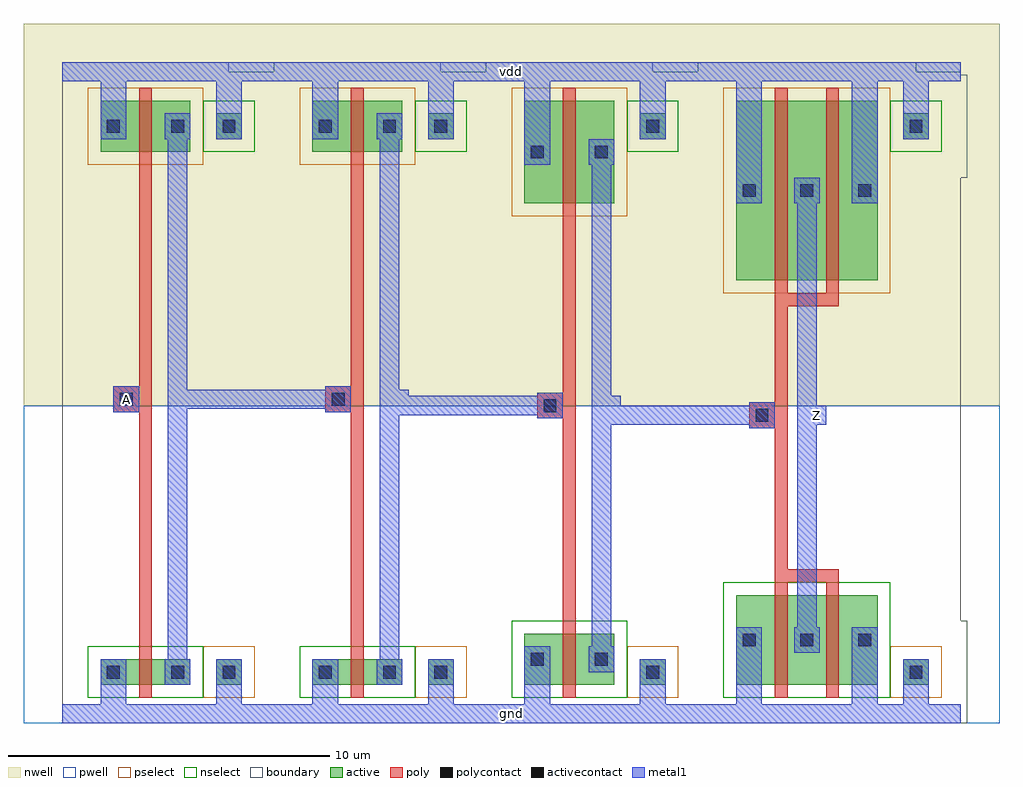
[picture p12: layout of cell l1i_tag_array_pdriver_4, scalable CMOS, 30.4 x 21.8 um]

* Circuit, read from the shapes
.subckt l1i_tag_array_pdriver_4 A Z gnd vdd
M1 l1i_tag_array_pinv_7_1/A A gnd gnd nfet w=0.8u l=0.4u
M2 l1i_tag_array_pinv_13_2/A l1i_tag_array_pinv_7_1/A gnd gnd nfet w=0.8u l=0.4u
M3 l1i_tag_array_pinv_14_3/A l1i_tag_array_pinv_13_2/A gnd gnd nfet w=1.6u l=0.4u
M4 Z l1i_tag_array_pinv_14_3/A gnd gnd nfet w=2.8u l=0.4u m=2
M5 l1i_tag_array_pinv_7_1/A A vdd vdd pfet w=1.6u l=0.4u
M6 l1i_tag_array_pinv_13_2/A l1i_tag_array_pinv_7_1/A vdd vdd pfet w=1.6u l=0.4u
M7 l1i_tag_array_pinv_14_3/A l1i_tag_array_pinv_13_2/A vdd vdd pfet w=3.2u l=0.4u
M8 Z l1i_tag_array_pinv_14_3/A vdd vdd pfet w=5.6u l=0.4u m=2
.ends

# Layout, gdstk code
import gdstk
lib = gdstk.Library(unit=1e-6, precision=1e-09)
def R(c, l, rs):  # rectangles x0, y0, x1, y1
    for r in rs: c.add(gdstk.rectangle(r[:2], r[2:], *l))
def A(c, l, x, y, w, h, nx, ny, dx, dy):  # array of equal rectangles
    R(c, l, [(x+i*dx, y+j*dy, x+i*dx+w, y+j*dy+h) for i in range(nx) for j in range(ny)])
pwell = (41, 0)
nwell = (42, 0)
active = (43, 0)
pselect = (44, 0)
nselect = (45, 0)
poly = (46, 0)
polycontact = (47, 0)
activecontact = (48, 0)
metal1 = (49, 0)
boundary = (63, 0)

l1i_tag_array_contact_11 = lib.new_cell('l1i_tag_array_contact_11')
R(l1i_tag_array_contact_11, nwell, [(-1.2,-1.2,2,2)])
R(l1i_tag_array_contact_11, active, [(0,0,0.8,0.8)])
R(l1i_tag_array_contact_11, pselect, [(-0.4,-0.4,1.2,1.2)])
R(l1i_tag_array_contact_11, activecontact, [(0.2,0.2,0.6,0.6)])
R(l1i_tag_array_contact_11, metal1, [(0,0,0.8,0.8)])
R(l1i_tag_array_contact_11, boundary, [(-1.2,-1.2,2,2)])

l1i_tag_array_pmos_m1_w1 = lib.new_cell('l1i_tag_array_pmos_m1_w1_600_sm1_dm1_da_p')
R(l1i_tag_array_pmos_m1_w1, nwell, [(-1.2,-1.2,4,2.8)])
R(l1i_tag_array_pmos_m1_w1, active, [(0,0,2.8,1.6)])
R(l1i_tag_array_pmos_m1_w1, pselect, [(-0.4,-0.4,3.2,2)])
R(l1i_tag_array_pmos_m1_w1, poly, [(1.2,-0.4,1.6,2), (1.2,-0.4,1.6,2)])
R(l1i_tag_array_pmos_m1_w1, metal1, [(0,0.4,0.8,1.2), (2,0.4,2.8,1.2)])
R(l1i_tag_array_pmos_m1_w1, boundary, [(-1.2,-1.2,4,2.8)])
l1i_tag_array_pmos_m1_w1.add(gdstk.Reference(l1i_tag_array_contact_11, (0,0.4)))
l1i_tag_array_pmos_m1_w1.add(gdstk.Reference(l1i_tag_array_contact_11, (2,0.4)))
l1i_tag_array_pmos_m1_w1.add(gdstk.Label('G', (1.4,0.8), layer=46, texttype=0))
l1i_tag_array_pmos_m1_w1.add(gdstk.Label('S', (0.4,0.8), layer=49, texttype=0))
l1i_tag_array_pmos_m1_w1.add(gdstk.Label('D', (2.4,0.8), layer=49, texttype=0))

l1i_tag_array_contact_10 = lib.new_cell('l1i_tag_array_contact_10')
R(l1i_tag_array_contact_10, pwell, [(-1.2,-1.2,2,2)])
R(l1i_tag_array_contact_10, active, [(0,0,0.8,0.8)])
R(l1i_tag_array_contact_10, nselect, [(-0.4,-0.4,1.2,1.2)])
R(l1i_tag_array_contact_10, activecontact, [(0.2,0.2,0.6,0.6)])
R(l1i_tag_array_contact_10, metal1, [(0,0,0.8,0.8)])
R(l1i_tag_array_contact_10, boundary, [(-1.2,-1.2,2,2)])

l1i_tag_array_nmos_m1_w0 = lib.new_cell('l1i_tag_array_nmos_m1_w0_800_sm1_dm1_da_p')
R(l1i_tag_array_nmos_m1_w0, pwell, [(-1.2,-1.2,4,2)])
R(l1i_tag_array_nmos_m1_w0, active, [(0,0,2.8,0.8)])
R(l1i_tag_array_nmos_m1_w0, nselect, [(-0.4,-0.4,3.2,1.2)])
R(l1i_tag_array_nmos_m1_w0, poly, [(1.2,-0.4,1.6,1.2), (1.2,-0.4,1.6,1.2)])
R(l1i_tag_array_nmos_m1_w0, metal1, [(0,0,0.8,0.8), (2,0,2.8,0.8)])
R(l1i_tag_array_nmos_m1_w0, boundary, [(-1.2,-1.2,4,2)])
l1i_tag_array_nmos_m1_w0.add(gdstk.Reference(l1i_tag_array_contact_10, (0,0)))
l1i_tag_array_nmos_m1_w0.add(gdstk.Reference(l1i_tag_array_contact_10, (2,0)))
l1i_tag_array_nmos_m1_w0.add(gdstk.Label('G', (1.4,0.4), layer=46, texttype=0))
l1i_tag_array_nmos_m1_w0.add(gdstk.Label('S', (0.4,0.4), layer=49, texttype=0))
l1i_tag_array_nmos_m1_w0.add(gdstk.Label('D', (2.4,0.4), layer=49, texttype=0))

l1i_tag_array_contact_12 = lib.new_cell('l1i_tag_array_contact_12')
R(l1i_tag_array_contact_12, nwell, [(-1.2,-1.2,2,2)])
R(l1i_tag_array_contact_12, active, [(0,0,0.8,0.8)])
R(l1i_tag_array_contact_12, nselect, [(-0.4,-0.4,1.2,1.2)])
R(l1i_tag_array_contact_12, activecontact, [(0.2,0.2,0.6,0.6)])
R(l1i_tag_array_contact_12, metal1, [(0,0,0.8,0.8)])
R(l1i_tag_array_contact_12, boundary, [(-1.2,-1.2,2,2)])

l1i_tag_array_contact_13 = lib.new_cell('l1i_tag_array_contact_13')
R(l1i_tag_array_contact_13, pwell, [(-1.2,-1.2,2,2)])
R(l1i_tag_array_contact_13, active, [(0,0,0.8,0.8)])
R(l1i_tag_array_contact_13, pselect, [(-0.4,-0.4,1.2,1.2)])
R(l1i_tag_array_contact_13, activecontact, [(0.2,0.2,0.6,0.6)])
R(l1i_tag_array_contact_13, metal1, [(0,0,0.8,0.8)])
R(l1i_tag_array_contact_13, boundary, [(-1.2,-1.2,2,2)])

l1i_tag_array_contact_14 = lib.new_cell('l1i_tag_array_contact_14')
R(l1i_tag_array_contact_14, poly, [(0,0,0.8,0.8)])
R(l1i_tag_array_contact_14, polycontact, [(0.2,0.2,0.6,0.6)])
R(l1i_tag_array_contact_14, metal1, [(0,0,0.8,0.8)])
R(l1i_tag_array_contact_14, boundary, [(0,0,0.8,0.8)])

l1i_tag_array_pinv_7 = lib.new_cell('l1i_tag_array_pinv_7')
R(l1i_tag_array_pinv_7, pwell, [(-1.2,-0.3,7.8,9.6)])
R(l1i_tag_array_pinv_7, nwell, [(-1.2,9.6,7.8,21.5)])
R(l1i_tag_array_pinv_7, poly, [(2.4,2.1,2.8,17.1), (2,9.4,2.4,10.2)])
R(l1i_tag_array_pinv_7, metal1, [(0,-0.3,6.6,0.3), (1.2,-0.3,2,0.9), (4.8,0,5.6,1.3), (3.3,0.9,3.9,18.7), (1.6,9.4,2.4,10.2), (3.6,9.5,4.2,10.1), (1.2,17.9,2,20.3), (4.8,18.3,5.6,20), (0,19.7,6.6,20.3)])
R(l1i_tag_array_pinv_7, boundary, [(0,0,6.6,20), (0,0,6.6,20)])
l1i_tag_array_pinv_7.add(gdstk.Reference(l1i_tag_array_pmos_m1_w1, (1.2,17.5)))
l1i_tag_array_pinv_7.add(gdstk.Reference(l1i_tag_array_nmos_m1_w0, (1.2,0.9)))
l1i_tag_array_pinv_7.add(gdstk.Reference(l1i_tag_array_contact_12, (4.8,17.9)))
l1i_tag_array_pinv_7.add(gdstk.Reference(l1i_tag_array_contact_13, (4.8,0.9)))
l1i_tag_array_pinv_7.add(gdstk.Reference(l1i_tag_array_contact_14, (1.6,9.4)))
l1i_tag_array_pinv_7.add(gdstk.Label('A', (2,9.8), layer=49, texttype=0))
l1i_tag_array_pinv_7.add(gdstk.Label('Z', (3.9,9.8), layer=49, texttype=0))
l1i_tag_array_pinv_7.add(gdstk.Label('gnd', (3.3,0), layer=49, texttype=0))
l1i_tag_array_pinv_7.add(gdstk.Label('vdd', (3.3,20), layer=49, texttype=0))

l1i_tag_array_pmos_m1_w3 = lib.new_cell('l1i_tag_array_pmos_m1_w3_200_sm1_dm1_da_p')
R(l1i_tag_array_pmos_m1_w3, nwell, [(-1.2,-1.2,4,4.4)])
R(l1i_tag_array_pmos_m1_w3, active, [(0,0,2.8,3.2)])
R(l1i_tag_array_pmos_m1_w3, pselect, [(-0.4,-0.4,3.2,3.6)])
R(l1i_tag_array_pmos_m1_w3, poly, [(1.2,-0.4,1.6,3.6), (1.2,-0.4,1.6,3.6)])
R(l1i_tag_array_pmos_m1_w3, metal1, [(0,1.2,0.8,2), (2,1.2,2.8,2)])
R(l1i_tag_array_pmos_m1_w3, boundary, [(-1.2,-1.2,4,4.4)])
l1i_tag_array_pmos_m1_w3.add(gdstk.Reference(l1i_tag_array_contact_11, (0,1.2)))
l1i_tag_array_pmos_m1_w3.add(gdstk.Reference(l1i_tag_array_contact_11, (2,1.2)))
l1i_tag_array_pmos_m1_w3.add(gdstk.Label('G', (1.4,1.6), layer=46, texttype=0))
l1i_tag_array_pmos_m1_w3.add(gdstk.Label('S', (0.4,1.6), layer=49, texttype=0))
l1i_tag_array_pmos_m1_w3.add(gdstk.Label('D', (2.4,1.6), layer=49, texttype=0))

l1i_tag_array_nmos_m1_w1 = lib.new_cell('l1i_tag_array_nmos_m1_w1_600_sm1_dm1_da_p')
R(l1i_tag_array_nmos_m1_w1, pwell, [(-1.2,-1.2,4,2.8)])
R(l1i_tag_array_nmos_m1_w1, active, [(0,0,2.8,1.6)])
R(l1i_tag_array_nmos_m1_w1, nselect, [(-0.4,-0.4,3.2,2)])
R(l1i_tag_array_nmos_m1_w1, poly, [(1.2,-0.4,1.6,2), (1.2,-0.4,1.6,2)])
R(l1i_tag_array_nmos_m1_w1, metal1, [(0,0.4,0.8,1.2), (2,0.4,2.8,1.2)])
R(l1i_tag_array_nmos_m1_w1, boundary, [(-1.2,-1.2,4,2.8)])
l1i_tag_array_nmos_m1_w1.add(gdstk.Reference(l1i_tag_array_contact_10, (0,0.4)))
l1i_tag_array_nmos_m1_w1.add(gdstk.Reference(l1i_tag_array_contact_10, (2,0.4)))
l1i_tag_array_nmos_m1_w1.add(gdstk.Label('G', (1.4,0.8), layer=46, texttype=0))
l1i_tag_array_nmos_m1_w1.add(gdstk.Label('S', (0.4,0.8), layer=49, texttype=0))
l1i_tag_array_nmos_m1_w1.add(gdstk.Label('D', (2.4,0.8), layer=49, texttype=0))

l1i_tag_array_pinv_13 = lib.new_cell('l1i_tag_array_pinv_13')
R(l1i_tag_array_pinv_13, pwell, [(-1.2,-0.3,7.8,9.6)])
R(l1i_tag_array_pinv_13, nwell, [(-1.2,9.6,7.8,21.5)])
R(l1i_tag_array_pinv_13, poly, [(2.4,2.9,2.8,15.5), (2,9.2,2.4,10)])
R(l1i_tag_array_pinv_13, metal1, [(0,-0.3,6.6,0.3), (1.2,-0.3,2,1.3), (4.8,0,5.6,1.3), (3.3,1.3,3.9,17.9), (1.6,9.2,2.4,10), (3.6,9.3,4.2,9.9), (1.2,17.1,2,20.3), (4.8,18.3,5.6,20), (0,19.7,6.6,20.3)])
R(l1i_tag_array_pinv_13, boundary, [(0,0,6.6,20), (0,0,6.6,20)])
l1i_tag_array_pinv_13.add(gdstk.Reference(l1i_tag_array_pmos_m1_w3, (1.2,15.9)))
l1i_tag_array_pinv_13.add(gdstk.Reference(l1i_tag_array_nmos_m1_w1, (1.2,0.9)))
l1i_tag_array_pinv_13.add(gdstk.Reference(l1i_tag_array_contact_12, (4.8,17.9)))
l1i_tag_array_pinv_13.add(gdstk.Reference(l1i_tag_array_contact_13, (4.8,0.9)))
l1i_tag_array_pinv_13.add(gdstk.Reference(l1i_tag_array_contact_14, (1.6,9.2)))
l1i_tag_array_pinv_13.add(gdstk.Label('A', (2,9.6), layer=49, texttype=0))
l1i_tag_array_pinv_13.add(gdstk.Label('Z', (3.9,9.6), layer=49, texttype=0))
l1i_tag_array_pinv_13.add(gdstk.Label('gnd', (3.3,0), layer=49, texttype=0))
l1i_tag_array_pinv_13.add(gdstk.Label('vdd', (3.3,20), layer=49, texttype=0))

l1i_tag_array_pmos_m2_w5 = lib.new_cell('l1i_tag_array_pmos_m2_w5_600_sm1_dm1_da_p')
R(l1i_tag_array_pmos_m2_w5, nwell, [(-1.2,-1.2,5.6,6.8)])
R(l1i_tag_array_pmos_m2_w5, active, [(0,0,4.4,5.6)])
R(l1i_tag_array_pmos_m2_w5, pselect, [(-0.4,-0.4,4.8,6)])
R(l1i_tag_array_pmos_m2_w5, poly, [(1.2,-0.8,3.2,-0.4), (1.2,-0.4,1.6,6), (2.8,-0.4,3.2,6)])
A(l1i_tag_array_pmos_m2_w5, metal1, 0, 2.4, 0.8, 0.8, 3, 1, 1.8, 0)
R(l1i_tag_array_pmos_m2_w5, boundary, [(-1.2,-1.2,5.6,6.8)])
l1i_tag_array_pmos_m2_w5.add(gdstk.Reference(l1i_tag_array_contact_11, (0,2.4)))
l1i_tag_array_pmos_m2_w5.add(gdstk.Reference(l1i_tag_array_contact_11, (1.8,2.4)))
l1i_tag_array_pmos_m2_w5.add(gdstk.Reference(l1i_tag_array_contact_11, (3.6,2.4)))
l1i_tag_array_pmos_m2_w5.add(gdstk.Label('G', (2.2,-0.6), layer=46, texttype=0))
l1i_tag_array_pmos_m2_w5.add(gdstk.Label('S', (4,2.8), layer=49, texttype=0))
l1i_tag_array_pmos_m2_w5.add(gdstk.Label('S', (0.4,2.8), layer=49, texttype=0))
l1i_tag_array_pmos_m2_w5.add(gdstk.Label('D', (2.2,2.8), layer=49, texttype=0))

l1i_tag_array_nmos_m2_w2 = lib.new_cell('l1i_tag_array_nmos_m2_w2_800_sm1_dm1_da_p')
R(l1i_tag_array_nmos_m2_w2, pwell, [(-1.2,-1.2,5.6,4)])
R(l1i_tag_array_nmos_m2_w2, active, [(0,0,4.4,2.8)])
R(l1i_tag_array_nmos_m2_w2, nselect, [(-0.4,-0.4,4.8,3.2)])
R(l1i_tag_array_nmos_m2_w2, poly, [(1.2,-0.4,1.6,3.2), (2.8,-0.4,3.2,3.2), (1.2,3.2,3.2,3.6)])
A(l1i_tag_array_nmos_m2_w2, metal1, 0, 1, 0.8, 0.8, 3, 1, 1.8, 0)
R(l1i_tag_array_nmos_m2_w2, boundary, [(-1.2,-1.2,5.6,4)])
l1i_tag_array_nmos_m2_w2.add(gdstk.Reference(l1i_tag_array_contact_10, (0,1)))
l1i_tag_array_nmos_m2_w2.add(gdstk.Reference(l1i_tag_array_contact_10, (1.8,1)))
l1i_tag_array_nmos_m2_w2.add(gdstk.Reference(l1i_tag_array_contact_10, (3.6,1)))
l1i_tag_array_nmos_m2_w2.add(gdstk.Label('G', (2.2,3.4), layer=46, texttype=0))
l1i_tag_array_nmos_m2_w2.add(gdstk.Label('S', (0.4,1.4), layer=49, texttype=0))
l1i_tag_array_nmos_m2_w2.add(gdstk.Label('S', (4,1.4), layer=49, texttype=0))
l1i_tag_array_nmos_m2_w2.add(gdstk.Label('D', (2.2,1.4), layer=49, texttype=0))

l1i_tag_array_pinv_14 = lib.new_cell('l1i_tag_array_pinv_14')
R(l1i_tag_array_pinv_14, pwell, [(-1.2,-0.3,9.4,9.6)])
R(l1i_tag_array_pinv_14, nwell, [(-1.2,9.6,9.4,21.5)])
R(l1i_tag_array_pinv_14, poly, [(2.4,4.5,2.8,12.7), (2,8.9,2.4,9.7)])
R(l1i_tag_array_pinv_14, metal1, [(0,-0.3,8.2,0.3), (1.2,-0.3,2,1.9), (4.8,-0.3,5.6,1.9), (6.4,0,7.2,1.3), (3.1,1.9,3.7,16.7), (1.6,8.9,2.4,9.7), (3.4,9,4,9.6), (1.2,15.9,2,20.3), (4.8,15.9,5.6,20.3), (6.4,18.3,7.2,20), (0,19.7,8.2,20.3)])
R(l1i_tag_array_pinv_14, boundary, [(0,0,8.2,20), (0,0,8.2,20)])
l1i_tag_array_pinv_14.add(gdstk.Reference(l1i_tag_array_pmos_m2_w5, (1.2,13.5)))
l1i_tag_array_pinv_14.add(gdstk.Reference(l1i_tag_array_nmos_m2_w2, (1.2,0.9)))
l1i_tag_array_pinv_14.add(gdstk.Reference(l1i_tag_array_contact_12, (6.4,17.9)))
l1i_tag_array_pinv_14.add(gdstk.Reference(l1i_tag_array_contact_13, (6.4,0.9)))
l1i_tag_array_pinv_14.add(gdstk.Reference(l1i_tag_array_contact_14, (1.6,8.9)))
l1i_tag_array_pinv_14.add(gdstk.Label('A', (2,9.3), layer=49, texttype=0))
l1i_tag_array_pinv_14.add(gdstk.Label('Z', (3.7,9.3), layer=49, texttype=0))
l1i_tag_array_pinv_14.add(gdstk.Label('gnd', (4.1,0), layer=49, texttype=0))
l1i_tag_array_pinv_14.add(gdstk.Label('vdd', (4.1,20), layer=49, texttype=0))

l1i_tag_array_pdriver_4 = lib.new_cell('l1i_tag_array_pdriver_4')
R(l1i_tag_array_pdriver_4, pwell, [(-1.2,-0.3,29.2,9.6)])
R(l1i_tag_array_pdriver_4, nwell, [(-1.2,9.6,29.2,21.5)])
R(l1i_tag_array_pdriver_4, metal1, [(0,-0.3,28,0.3), (16.8,9,17.4,9.6), (17.1,9,21.8,9.6), (23.2,9,23.8,9.6), (10.2,9.3,10.8,9.9), (10.5,9.3,15.2,9.9), (16.8,9.3,17.4,9.6), (1.6,9.4,2.4,10.2), (3.9,9.5,8.6,10.1), (10.2,9.6,10.8,9.8), (0,19.7,28,20.3)])
R(l1i_tag_array_pdriver_4, boundary, [(0,0,28,20), (0,0,28,20)])
l1i_tag_array_pdriver_4.add(gdstk.Reference(l1i_tag_array_pinv_7, (0,0)))
l1i_tag_array_pdriver_4.add(gdstk.Reference(l1i_tag_array_pinv_7, (6.6,0)))
l1i_tag_array_pdriver_4.add(gdstk.Reference(l1i_tag_array_pinv_13, (13.2,0)))
l1i_tag_array_pdriver_4.add(gdstk.Reference(l1i_tag_array_pinv_14, (19.8,0)))
l1i_tag_array_pdriver_4.add(gdstk.Label('Z', (23.5,9.3), layer=49, texttype=0))
l1i_tag_array_pdriver_4.add(gdstk.Label('A', (2,9.8), layer=49, texttype=0))
l1i_tag_array_pdriver_4.add(gdstk.Label('gnd', (14,0), layer=49, texttype=0))
l1i_tag_array_pdriver_4.add(gdstk.Label('vdd', (14,20), layer=49, texttype=0))

lib.write_gds('l1i_tag_array_pdriver_4.gds')
